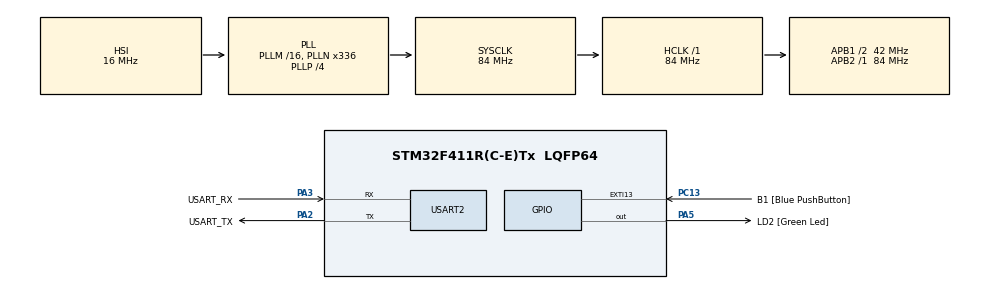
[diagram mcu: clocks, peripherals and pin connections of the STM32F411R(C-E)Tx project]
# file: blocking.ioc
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FREERTOS.Tasks01=defaultTask,0,128,StartDefaultTask,Default,NULL
Mcu.Family=STM32F4
Mcu.Name=STM32F411R(C-E)Tx
Mcu.Package=LQFP64
NVIC.PriorityGroup=NVIC_PRIORITYGROUP_4
NVIC.TIM1_UP_TIM10_IRQn=true\:0\:0\:false\:false\:true\:false\:false
NVIC.TimeBase=TIM1_UP_TIM10_IRQn
NVIC.TimeBaseIP=TIM1
PA13.GPIO_Label=TMS
PA13.Mode=Serial_Wire
PA13.Signal=SYS_JTMS-SWDIO
PA14.GPIO_Label=TCK
PA14.Mode=Serial_Wire
PA14.Signal=SYS_JTCK-SWCLK
PA2.GPIO_Label=USART_TX
PA2.Mode=Asynchronous
PA2.Signal=USART2_TX
PA3.GPIO_Label=USART_RX
PA3.Mode=Asynchronous
PA3.Signal=USART2_RX
PA5.GPIO_Label=LD2 [Green Led]
PA5.Signal=GPIO_Output
PB3.Signal=SYS_JTDO-SWO
PC13-ANTI_TAMP.GPIO_Label=B1 [Blue PushButton]
PC13-ANTI_TAMP.GPIO_ModeDefaultEXTI=GPIO_MODE_IT_FALLING
PC13-ANTI_TAMP.Signal=GPXTI13
PC14-OSC32_IN.Mode=LSE-External-Oscillator
PC14-OSC32_IN.Signal=RCC_OSC32_IN
PC15-OSC32_OUT.Mode=LSE-External-Oscillator
PC15-OSC32_OUT.Signal=RCC_OSC32_OUT
PH0\ -\ OSC_IN.Mode=HSE-External-Clock-Source
PH0\ -\ OSC_IN.Signal=RCC_OSC_IN
PH1\ -\ OSC_OUT.Mode=HSE-External-Clock-Source
PH1\ -\ OSC_OUT.Signal=RCC_OSC_OUT
ProjectManager.HeapSize=0x200
ProjectManager.StackSize=0x400
ProjectManager.TargetToolchain=SW4STM32
RCC.48MHZClocksFreq_Value=84000000
RCC.AHBFreq_Value=84000000
RCC.APB1CLKDivider=RCC_HCLK_DIV2
RCC.APB1Freq_Value=42000000
RCC.APB1TimFreq_Value=84000000
RCC.APB2Freq_Value=84000000
RCC.APB2TimFreq_Value=84000000
RCC.CortexFreq_Value=84000000
RCC.FLatency-AdvancedSettings=FLASH_LATENCY_2
RCC.HCLKFreq_Value=84000000
RCC.HSE_VALUE=8000000
RCC.HSI_VALUE=16000000
RCC.PLLN=336
RCC.PLLP=RCC_PLLP_DIV4
RCC.SYSCLKFreq_VALUE=84000000
RCC.SYSCLKSource=RCC_SYSCLKSOURCE_PLLCLK
RCC.VCOOutputFreq_Value=336000000
USART2.VirtualMode=VM_ASYNC
VP_FREERTOS_VS_ENABLE.Mode=Enabled
VP_SYS_VS_tim1.Mode=TIM1
board=NUCLEO-F411RE

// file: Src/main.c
/**
  ******************************************************************************
  * @file           : main.c
  * @brief          : Main program body
  ******************************************************************************
  * This notice applies to any and all portions of this file
  * that are not between comment pairs USER CODE BEGIN and
  * USER CODE END. Other portions of this file, whether
  * inserted by the user or by software development tools
  * are owned by their respective copyright owners.
  *
  * Copyright (c) 2018 STMicroelectronics International N.V.
  * All rights reserved.
  *
  * Redistribution and use in source and binary forms, with or without
  * modification, are permitted, provided that the following conditions are met:
  *
  * 1. Redistribution of source code must retain the above copyright notice,
  *    this list of conditions and the following disclaimer.
  * 2. Redistributions in binary form must reproduce the above copyright notice,
  *    this list of conditions and the following disclaimer in the documentation
  *    and/or other materials provided with the distribution.
  * 3. Neither the name of STMicroelectronics nor the names of other
  *    contributors to this software may be used to endorse or promote products
  *    derived from this software without specific written permission.
  * 4. This software, including modifications and/or derivative works of this
  *    software, must execute solely and exclusively on microcontroller or
  *    microprocessor devices manufactured by or for STMicroelectronics.
  * 5. Redistribution and use of this software other than as permitted under
  *    this license is void and will automatically terminate your rights under
  *    this license.
  *
  * THIS SOFTWARE IS PROVIDED BY STMICROELECTRONICS AND CONTRIBUTORS "AS IS"
  * AND ANY EXPRESS, IMPLIED OR STATUTORY WARRANTIES, INCLUDING, BUT NOT
  * LIMITED TO, THE IMPLIED WARRANTIES OF MERCHANTABILITY, FITNESS FOR A
  * PARTICULAR PURPOSE AND NON-INFRINGEMENT OF THIRD PARTY INTELLECTUAL PROPERTY
  * RIGHTS ARE DISCLAIMED TO THE FULLEST EXTENT PERMITTED BY LAW. IN NO EVENT
  * SHALL STMICROELECTRONICS OR CONTRIBUTORS BE LIABLE FOR ANY DIRECT, INDIRECT,
  * INCIDENTAL, SPECIAL, EXEMPLARY, OR CONSEQUENTIAL DAMAGES (INCLUDING, BUT NOT
  * LIMITED TO, PROCUREMENT OF SUBSTITUTE GOODS OR SERVICES; LOSS OF USE, DATA,
  * OR PROFITS; OR BUSINESS INTERRUPTION) HOWEVER CAUSED AND ON ANY THEORY OF
  * LIABILITY, WHETHER IN CONTRACT, STRICT LIABILITY, OR TORT (INCLUDING
  * NEGLIGENCE OR OTHERWISE) ARISING IN ANY WAY OUT OF THE USE OF THIS SOFTWARE,
  * EVEN IF ADVISED OF THE POSSIBILITY OF SUCH DAMAGE.
  *
  ******************************************************************************
  */
#include "main.h"
#include "stm32f4xx_hal.h"
#include "cmsis_os.h"

/* USER CODE BEGIN Includes */
#include "IL_debug.h"
#include "string.h"
/* USER CODE END Includes */

UART_HandleTypeDef huart2;

osThreadId defaultTaskHandle;

/* USER CODE BEGIN PV */
/* Private variables ---------------------------------------------------------*/

/* USER CODE END PV */

void SystemClock_Config(void);
static void MX_GPIO_Init(void);
static void MX_USART2_UART_Init(void);
void StartDefaultTask(void const * argument);

/* USER CODE BEGIN PFP */
/* Private function prototypes -----------------------------------------------*/

/* USER CODE END PFP */

/* USER CODE BEGIN 0 */
void sender(void * arg);
void receiver(void * arg);

xQueueHandle xQueue;
/* USER CODE END 0 */

int main(void)
{

  /* MCU Configuration----------------------------------------------------------*/

  /* Reset of all peripherals, Initializes the Flash interface and the Systick. */
  HAL_Init();

  /* Configure the system clock */
  SystemClock_Config();

  /* Initialize all configured peripherals */
  MX_GPIO_Init();
  MX_USART2_UART_Init();

  /* Create the thread(s) */
  /* definition and creation of defaultTask */
  osThreadDef(defaultTask, StartDefaultTask, osPriorityNormal, 0, 128);
  defaultTaskHandle = osThreadCreate(osThread(defaultTask), NULL);

  /* USER CODE BEGIN RTOS_QUEUES */
  /* add queues, ... */
  xQueue = xQueueCreate(5, sizeof(uint64_t));

  if(xQueue != NULL)
  {
	  xTaskCreate(sender, "Sender1", 256, (void *) 100, 1, NULL);
	  xTaskCreate(sender, "Sender2", 256, (void *) 200, 1, NULL);

	  xTaskCreate(receiver, "Receiver", 256, NULL, 2, NULL);

  }else
  {
	  char * err = "Error Queue wasn't created\n";
	  _write(err, strlen(err));
  }
  /* USER CODE END RTOS_QUEUES */

  /* Start scheduler */
  osKernelStart();

  /* We should never get here as control is now taken by the scheduler */

  /* Infinite loop */
  while (1)
  {

  }

}

void SystemClock_Config(void)
{

  RCC_OscInitTypeDef RCC_OscInitStruct;
  RCC_ClkInitTypeDef RCC_ClkInitStruct;

    /**Configure the main internal regulator output voltage
    */
  __HAL_RCC_PWR_CLK_ENABLE();

  __HAL_PWR_VOLTAGESCALING_CONFIG(PWR_REGULATOR_VOLTAGE_SCALE1);

    /**Initializes the CPU, AHB and APB busses clocks
    */
  RCC_OscInitStruct.OscillatorType = RCC_OSCILLATORTYPE_HSI;
  RCC_OscInitStruct.HSIState = RCC_HSI_ON;
  RCC_OscInitStruct.HSICalibrationValue = 16;
  RCC_OscInitStruct.PLL.PLLState = RCC_PLL_ON;
  RCC_OscInitStruct.PLL.PLLSource = RCC_PLLSOURCE_HSI;
  RCC_OscInitStruct.PLL.PLLM = 16;
  RCC_OscInitStruct.PLL.PLLN = 336;
  RCC_OscInitStruct.PLL.PLLP = RCC_PLLP_DIV4;
  RCC_OscInitStruct.PLL.PLLQ = 4;
  if (HAL_RCC_OscConfig(&RCC_OscInitStruct) != HAL_OK)
  {
    _Error_Handler(__FILE__, __LINE__);
  }

    /**Initializes the CPU, AHB and APB busses clocks
    */
  RCC_ClkInitStruct.ClockType = RCC_CLOCKTYPE_HCLK|RCC_CLOCKTYPE_SYSCLK
                              |RCC_CLOCKTYPE_PCLK1|RCC_CLOCKTYPE_PCLK2;
  RCC_ClkInitStruct.SYSCLKSource = RCC_SYSCLKSOURCE_PLLCLK;
  RCC_ClkInitStruct.AHBCLKDivider = RCC_SYSCLK_DIV1;
  RCC_ClkInitStruct.APB1CLKDivider = RCC_HCLK_DIV2;
  RCC_ClkInitStruct.APB2CLKDivider = RCC_HCLK_DIV1;

  if (HAL_RCC_ClockConfig(&RCC_ClkInitStruct, FLASH_LATENCY_2) != HAL_OK)
  {
    _Error_Handler(__FILE__, __LINE__);
  }

    /**Configure the Systick interrupt time
    */
  HAL_SYSTICK_Config(HAL_RCC_GetHCLKFreq()/1000);

    /**Configure the Systick
    */
  HAL_SYSTICK_CLKSourceConfig(SYSTICK_CLKSOURCE_HCLK);

  /* SysTick_IRQn interrupt configuration */
  HAL_NVIC_SetPriority(SysTick_IRQn, 15, 0);
}

/* USART2 init function */
static void MX_USART2_UART_Init(void)
{

  huart2.Instance = USART2;
  huart2.Init.BaudRate = 115200;
  huart2.Init.WordLength = UART_WORDLENGTH_8B;
  huart2.Init.StopBits = UART_STOPBITS_1;
  huart2.Init.Parity = UART_PARITY_NONE;
  huart2.Init.Mode = UART_MODE_TX_RX;
  huart2.Init.HwFlowCtl = UART_HWCONTROL_NONE;
  huart2.Init.OverSampling = UART_OVERSAMPLING_16;
  if (HAL_UART_Init(&huart2) != HAL_OK)
  {
    _Error_Handler(__FILE__, __LINE__);
  }

}

/** Configure pins as
        * Analog
        * Input
        * Output
        * EVENT_OUT
        * EXTI
*/
static void MX_GPIO_Init(void)
{

  GPIO_InitTypeDef GPIO_InitStruct;

  /* GPIO Ports Clock Enable */
  __HAL_RCC_GPIOC_CLK_ENABLE();
  __HAL_RCC_GPIOH_CLK_ENABLE();
  __HAL_RCC_GPIOA_CLK_ENABLE();
  __HAL_RCC_GPIOB_CLK_ENABLE();

  /*Configure GPIO pin Output Level */
  HAL_GPIO_WritePin(LD2_GPIO_Port, LD2_Pin, GPIO_PIN_RESET);

  /*Configure GPIO pin : B1_Pin */
  GPIO_InitStruct.Pin = B1_Pin;
  GPIO_InitStruct.Mode = GPIO_MODE_IT_FALLING;
  GPIO_InitStruct.Pull = GPIO_NOPULL;
  HAL_GPIO_Init(B1_GPIO_Port, &GPIO_InitStruct);

  /*Configure GPIO pin : LD2_Pin */
  GPIO_InitStruct.Pin = LD2_Pin;
  GPIO_InitStruct.Mode = GPIO_MODE_OUTPUT_PP;
  GPIO_InitStruct.Pull = GPIO_NOPULL;
  GPIO_InitStruct.Speed = GPIO_SPEED_FREQ_LOW;
  HAL_GPIO_Init(LD2_GPIO_Port, &GPIO_InitStruct);

}

/* USER CODE BEGIN 4 */
void sender(void * arg)
{
	portBASE_TYPE xStat;
	long lValueToSend= (long) arg;

	for(;;)
	{
		xStat = xQueueSendToFront(xQueue, lValueToSend, 0);
		if(xStat != pdPASS)
		{
			char * err = "Could not add to the queue \n";
			_write(err, strlen(err));
		}
		taskYIELD();
	}
}
void receiver(void * arg)
{
	portBASE_TYPE xStat;
	long lValueReceive;
	for(;;)
	{
		if(uxQueueMessagesWaiting(xQueue))
		{
			char * err = "Queue should be empty";
			_write(err, strlen(err));
		}

		xStat = xQueueReceive(xQueue, &lValueReceive, 200);
		if(xStat != pdPASS)
		{
			char * err = "Could not receive from the queue \n";
			_write(err, strlen(err));
		}else
		{
			char str[30] = "Odebrano ";
			char num[10];
			itoa(lValueReceive, num, 10);
			strcat(str, num);
			strcat(str, "\n");

			_write(str, strlen(str));
		}
	}
}
/* USER CODE END 4 */

/* StartDefaultTask function */
void StartDefaultTask(void const * argument)
{

  for(;;)
  {
    osDelay(1);
  }
}

void HAL_TIM_PeriodElapsedCallback(TIM_HandleTypeDef *htim)
{
  if (htim->Instance == TIM1) {
    HAL_IncTick();
  }
}

void _Error_Handler(char *file, int line)
{
  while(1)
  {
  }
}

/************************ (C) COPYRIGHT STMicroelectronics *****END OF FILE****/
